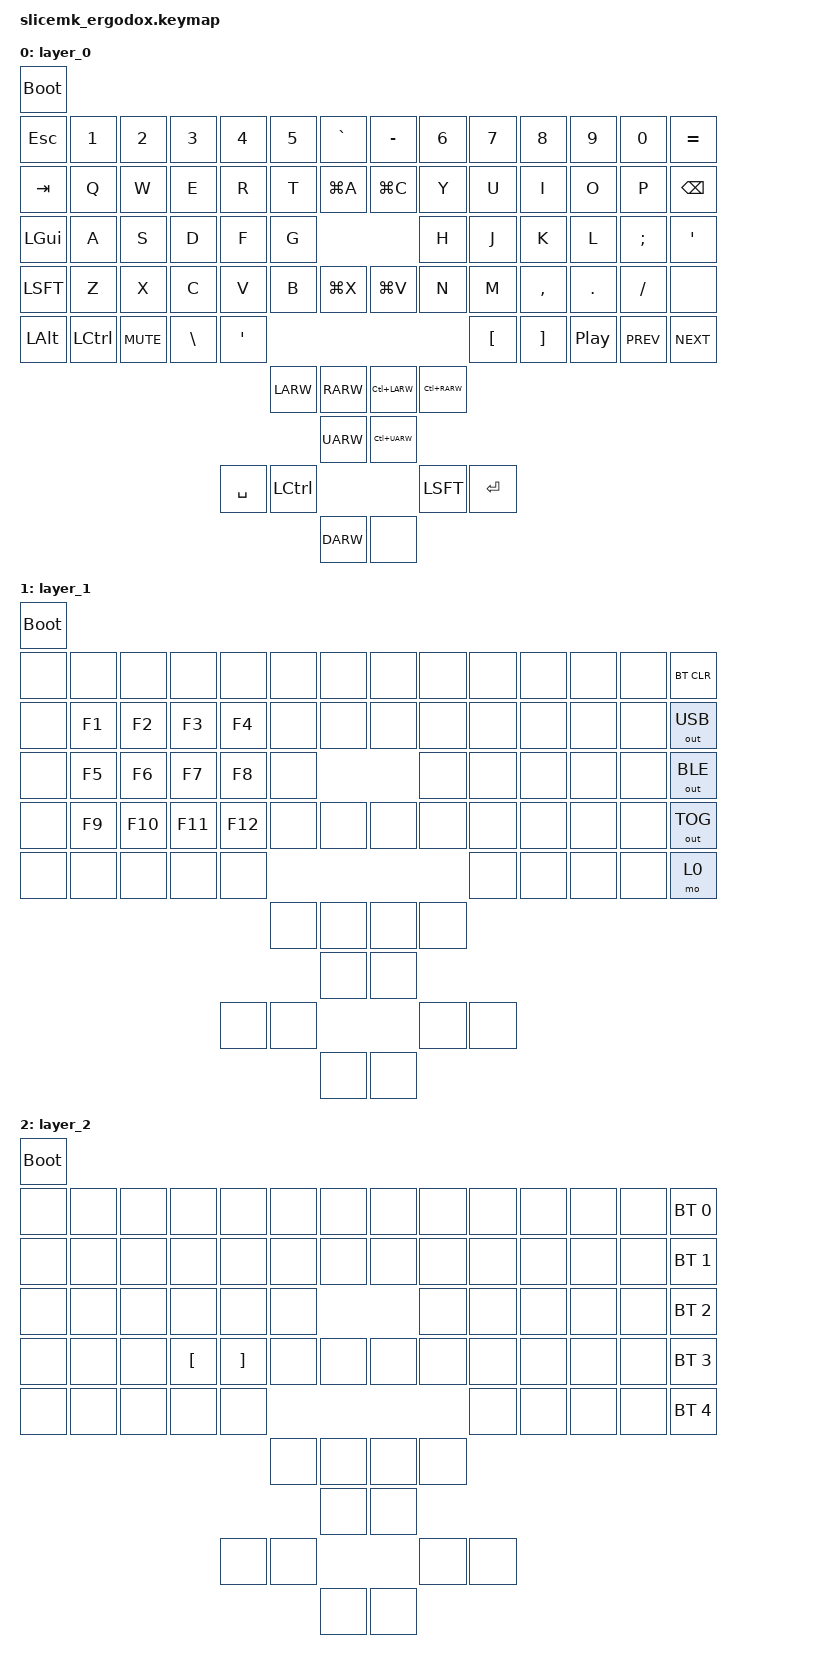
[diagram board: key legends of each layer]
#include <behaviors.dtsi>
#include <dt-bindings/zmk/bt.h>
#include <dt-bindings/zmk/keys.h>
#include <dt-bindings/zmk/outputs.h>

/ {
        keymap {
                compatible = "zmk,keymap";
                
                                layer_0 {
                        bindings = <
    &bootloader
    &kp ESC   &kp NUM_1  &kp NUM_2  &kp NUM_3  &kp NUM_4  &kp NUM_5  &kp GRAV   &kp MINUS      &kp NUM_6  &kp NUM_7  &kp NUM_8  &kp NUM_9  &kp NUM_0  &kp EQUAL
    &kp TAB    &kp Q      &kp W      &kp E      &kp R      &kp T      &kp LG(A)   &kp LG(C) &kp Y      &kp U      &kp I      &kp O      &kp P      &kp BKSP
    &kp LGUI    &kp A      &kp S      &kp D      &kp F      &kp G                            &kp H      &kp J      &kp K      &kp L      &kp SCLN   &kp SQT
    &kp LSFT      &kp Z      &kp X      &kp C      &kp V      &kp B      &kp LG(X) &kp LG(V) &kp N      &kp M      &kp CMMA   &kp DOT    &kp FSLH   &none
    &kp LALT      &kp LCTL      &kp K_MUTE   &kp BSLH   &kp SQT                                               &kp LBKT   &kp RBKT   &kp C_PP   &kp C_PREV      &kp C_NEXT
                                                           &kp LARW    &kp RARW   &kp LC(LARW)    &kp LC(RARW)
                                                                      &kp UARW   &kp LC(UARW)
                                                &kp SPC    &kp LCTL                         &kp LSFT   &kp RET
                                                                      &kp DARW   &none
                        >;
                };

                layer_1 {
                        bindings = <
    &bootloader
    &none      &none      &none      &none      &none      &none      &none      &none      &none      &none      &none      &none      &none      &bt BT_CLR
    &none      &kp F1     &kp F2     &kp F3     &kp F4     &none      &none      &none      &none      &none      &none      &none      &none      &out OUT_USB
    &none      &kp F5     &kp F6     &kp F7     &kp F8     &none                            &none      &none      &none      &none      &none      &out OUT_BLE
    &none      &kp F9     &kp F10    &kp F11    &kp F12    &none      &none      &none      &none      &none      &none      &none      &none      &out OUT_TOG
    &none      &none      &none      &none      &none                                                  &none      &none      &none      &none      &mo 0
                                                           &none      &none      &none      &none
                                                                      &none      &none
                                                &none      &none                            &none      &none
                                                                      &none      &none
                        >;
                };

                layer_2 {
                        bindings = <
    &bootloader
    &none      &none      &none      &none      &none      &none      &none      &none      &none      &none      &none      &none      &none      &bt BT_SEL 0
    &none      &none      &none      &none      &none      &none      &none      &none      &none      &none      &none      &none      &none      &bt BT_SEL 1
    &none      &none      &none      &none      &none      &none                            &none      &none      &none      &none      &none      &bt BT_SEL 2
    &none      &none      &none      &kp LBKT   &kp RBKT   &none      &none      &none      &none      &none      &none      &none      &none      &bt BT_SEL 3
    &none      &none      &none      &none      &none                                                  &none      &none      &none      &none      &bt BT_SEL 4
                                                           &none      &none      &none      &none
                                                                      &none      &none
                                                &none      &none                            &none      &none
                                                                      &none      &none
                        >;
                };

        };
};
